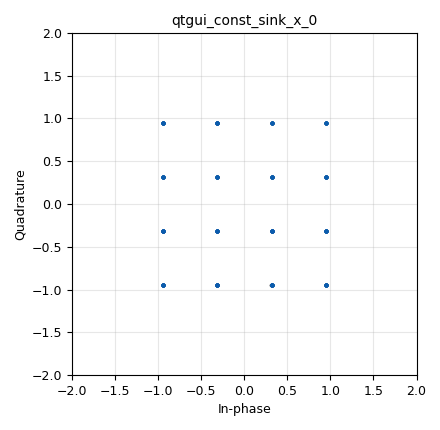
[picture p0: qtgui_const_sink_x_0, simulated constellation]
options:
  parameters:
    generate_options: qt_gui
    id: mer_probe_ai
    output_language: python
    title: Not titled yet
  states: {}

blocks:
- name: pj
  id: variable_qtgui_range
  parameters:
    start: '-40'
    step: '.001'
    stop: '0'
    value: '-40'
  states: {}
- name: samp_rate
  id: variable
  parameters:
    value: '32000'
  states: {}
- name: analog_random_source_x_0
  id: analog_random_source_x
  parameters:
    max: '16'
    min: '0'
    num_samps: '1000'
    repeat: 'True'
    type: byte
  states: {}
- name: channels_impairments_0
  id: channels_impairments
  parameters:
    freq_offset: '0'
    gamma: '0'
    i_ofs: '0'
    magbal: '0'
    phase_noise_mag: pj
    phasebal: '0'
    q_ofs: '0'
  states: {}
- name: digital_chunks_to_symbols_xx_0
  id: digital_chunks_to_symbols_xx
  parameters:
    dimension: '1'
    in_type: byte
    out_type: complex
    symbol_table: '[0.9487+0.9487j,0.9487+0.3162j, 0.3162+0.9487j, 0.3162 +0.3162j,0.9487-0.9487j,0.9487- 0.3162j, 0.3162-0.9487j, 0.3162- 0.3162j,-0.9487+0.9487j,-0.9487+ 0.3162j,- 0.3162+0.9487j,- 0.3162+ 0.3162j,-0.9487-0.9487j,-0.9487- 0.3162j,-0.3162-0.9487j,-0.3162- 0.3162j]'
  states: {}
- name: mer_probe_pj_cf_0
  id: mer_probe_pj_cf
  parameters:
    alpha: '0.05'
    symbol_table: '[0.9487+0.9487j,0.9487+0.3162j, 0.3162+0.9487j, 0.3162 +0.3162j,0.9487-0.9487j,0.9487- 0.3162j, 0.3162-0.9487j, 0.3162- 0.3162j,-0.9487+0.9487j,-0.9487+ 0.3162j,- 0.3162+0.9487j,- 0.3162+ 0.3162j,-0.9487-0.9487j,-0.9487- 0.3162j,-0.3162-0.9487j,-0.3162- 0.3162j]'
  states: {}
- name: qtgui_const_sink_x_0
  id: qtgui_const_sink_x
  parameters:
    size: '1024'
    type: complex
  states: {}
- name: qtgui_number_sink_0
  id: qtgui_number_sink
  parameters:
    graph_type: qtgui.NUM_GRAPH_HORIZ
    max: '.1'
    min: '0'
    name: '"Phase Jitter Variance"'
    type: float
  states: {}
- name: qtgui_number_sink_0_0
  id: qtgui_number_sink
  parameters:
    graph_type: qtgui.NUM_GRAPH_HORIZ
    min: '0'
    name: '"SNR"'
    type: float
  states: {}

connections:
- [analog_random_source_x_0, '0', digital_chunks_to_symbols_xx_0, '0']
- [channels_impairments_0, '0', mer_probe_pj_cf_0, '0']
- [channels_impairments_0, '0', qtgui_const_sink_x_0, '0']
- [digital_chunks_to_symbols_xx_0, '0', channels_impairments_0, '0']
- [mer_probe_pj_cf_0, '0', qtgui_number_sink_0, '0']
- [mer_probe_pj_cf_0, '1', qtgui_number_sink_0_0, '0']

metadata:
  file_format: 1
  grc_version: 3.9.8.0
